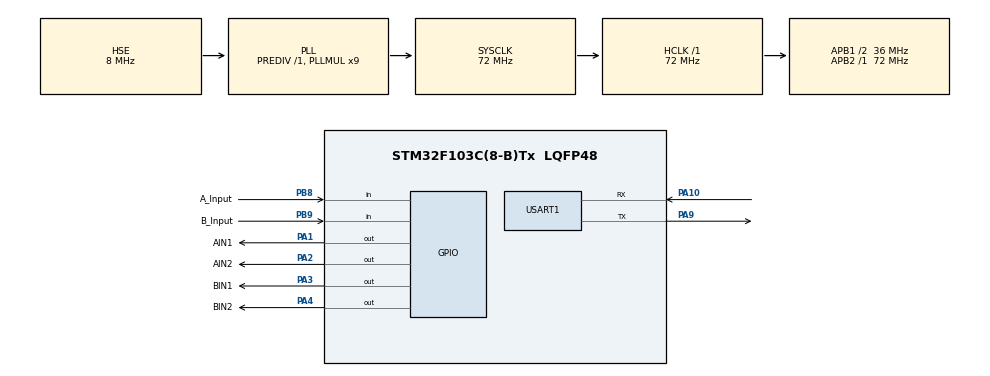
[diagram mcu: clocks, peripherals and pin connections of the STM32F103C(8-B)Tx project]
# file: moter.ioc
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Mcu.Family=STM32F1
Mcu.Name=STM32F103C(8-B)Tx
Mcu.Package=LQFP48
NVIC.PriorityGroup=NVIC_PRIORITYGROUP_4
NVIC.TIM1_UP_IRQn=true\:0\:0\:false\:false\:true\:true\:true
PA1.GPIO_Label=AIN1
PA1.PinState=GPIO_PIN_SET
PA1.Signal=GPIO_Output
PA10.Mode=Asynchronous
PA10.Signal=USART1_RX
PA13.Mode=Serial_Wire
PA13.Signal=SYS_JTMS-SWDIO
PA14.Mode=Serial_Wire
PA14.Signal=SYS_JTCK-SWCLK
PA2.GPIO_Label=AIN2
PA2.Signal=GPIO_Output
PA3.GPIO_Label=BIN1
PA3.Signal=GPIO_Output
PA4.GPIO_Label=BIN2
PA4.Signal=GPIO_Output
PA9.Mode=Asynchronous
PA9.Signal=USART1_TX
PB8.GPIO_Label=A_Input
PB8.Signal=GPIO_Input
PB9.GPIO_Label=B_Input
PB9.Signal=GPIO_Input
PD0-OSC_IN.Mode=HSE-External-Oscillator
PD0-OSC_IN.Signal=RCC_OSC_IN
PD1-OSC_OUT.Mode=HSE-External-Oscillator
PD1-OSC_OUT.Signal=RCC_OSC_OUT
ProjectManager.HeapSize=0x200
ProjectManager.StackSize=0x400
ProjectManager.TargetToolchain=MDK-ARM V5
RCC.AHBFreq_Value=72000000
RCC.APB1CLKDivider=RCC_HCLK_DIV2
RCC.APB1Freq_Value=36000000
RCC.APB1TimFreq_Value=72000000
RCC.APB2Freq_Value=72000000
RCC.APB2TimFreq_Value=72000000
RCC.HCLKFreq_Value=72000000
RCC.PLLMUL=RCC_PLL_MUL9
RCC.PLLSourceVirtual=RCC_PLLSOURCE_HSE
RCC.SYSCLKFreq_VALUE=72000000
RCC.SYSCLKSource=RCC_SYSCLKSOURCE_PLLCLK
RCC.USBFreq_Value=72000000
TIM1.Period=10000-1
TIM1.Prescaler=72-1
TIM1.RepetitionCounter=100-1
USART1.VirtualMode=VM_ASYNC
VP_TIM1_VS_ClockSourceINT.Mode=Internal
board=custom

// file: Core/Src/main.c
/* USER CODE BEGIN Header */
/**
  ******************************************************************************
  * @file           : main.c
  * @brief          : Main program body
  ******************************************************************************
  * @attention
  *
  * Copyright (c) 2022 STMicroelectronics.
  * All rights reserved.
  *
  * This software is licensed under terms that can be found in the LICENSE file
  * in the root directory of this software component.
  * If no LICENSE file comes with this software, it is provided AS-IS.
  *
  ******************************************************************************
  */
/* USER CODE END Header */
#include "main.h"
#include "tim.h"
#include "usart.h"
#include "gpio.h"
#include "PID.h"
/* USER CODE BEGIN Includes */
#include <stdio.h>
/* USER CODE END Includes */

/* USER CODE BEGIN PTD */
typedef struct MOTOR_FLAG
{
	int AIN;
	//int BIN;
}MOTOR_FLAG;
MOTOR_FLAG motor_flag;
/* USER CODE END PTD */

/* USER CODE BEGIN PV */
int time_unit  =0,j=0;
int count=0;
float AclValue;
int uk=500;
int a,b,a_tmp,b_tmp;
/* USER CODE END PV */

void SystemClock_Config(void);

/* USER CODE BEGIN 0 */
int fputc(int ch,FILE* f)
{
	uint8_t temp[1]={ch};
	HAL_UART_Transmit(&huart1,temp,1,2);
	return ch;
}
/* USER CODE END 0 */

int main(void)
{

  /* MCU Configuration--------------------------------------------------------*/

  /* Reset of all peripherals, Initializes the Flash interface and the Systick. */
  HAL_Init();

  /* Configure the system clock */
  SystemClock_Config();

  /* Initialize all configured peripherals */
  MX_GPIO_Init();
  MX_TIM1_Init();
  MX_USART1_UART_Init();
  /* USER CODE BEGIN 2 */
	HAL_TIM_Base_Start_IT(&htim1);
  /* USER CODE END 2 */

  /* Infinite loop */
  while (1)
  {

    /* USER CODE BEGIN 3 */

		a=HAL_GPIO_ReadPin(A_Input_GPIO_Port,A_Input_Pin);
		b=HAL_GPIO_ReadPin(B_Input_GPIO_Port,B_Input_Pin);

		if((!a_tmp) && a)
		{
			count++;
		}
		a_tmp=a;

  }
  /* USER CODE END 3 */
}

void SystemClock_Config(void)
{
  RCC_OscInitTypeDef RCC_OscInitStruct = {0};
  RCC_ClkInitTypeDef RCC_ClkInitStruct = {0};

  /** Initializes the RCC Oscillators according to the specified parameters
  * in the RCC_OscInitTypeDef structure.
  */
  RCC_OscInitStruct.OscillatorType = RCC_OSCILLATORTYPE_HSE;
  RCC_OscInitStruct.HSEState = RCC_HSE_ON;
  RCC_OscInitStruct.HSEPredivValue = RCC_HSE_PREDIV_DIV1;
  RCC_OscInitStruct.HSIState = RCC_HSI_ON;
  RCC_OscInitStruct.PLL.PLLState = RCC_PLL_ON;
  RCC_OscInitStruct.PLL.PLLSource = RCC_PLLSOURCE_HSE;
  RCC_OscInitStruct.PLL.PLLMUL = RCC_PLL_MUL9;
  if (HAL_RCC_OscConfig(&RCC_OscInitStruct) != HAL_OK)
  {
    Error_Handler();
  }
  /** Initializes the CPU, AHB and APB buses clocks
  */
  RCC_ClkInitStruct.ClockType = RCC_CLOCKTYPE_HCLK|RCC_CLOCKTYPE_SYSCLK
                              |RCC_CLOCKTYPE_PCLK1|RCC_CLOCKTYPE_PCLK2;
  RCC_ClkInitStruct.SYSCLKSource = RCC_SYSCLKSOURCE_PLLCLK;
  RCC_ClkInitStruct.AHBCLKDivider = RCC_SYSCLK_DIV1;
  RCC_ClkInitStruct.APB1CLKDivider = RCC_HCLK_DIV2;
  RCC_ClkInitStruct.APB2CLKDivider = RCC_HCLK_DIV1;

  if (HAL_RCC_ClockConfig(&RCC_ClkInitStruct, FLASH_LATENCY_2) != HAL_OK)
  {
    Error_Handler();
  }
}

/* USER CODE BEGIN 4 */

void HAL_TIM_PeriodElapsedCallback(TIM_HandleTypeDef *htim)
{
	if(htim->Instance == htim1.Instance)
	{
		time_unit++;
		j++;
		if(j<= uk)
		{
			HAL_GPIO_WritePin(AIN1_GPIO_Port,AIN1_Pin,GPIO_PIN_SET);
			HAL_GPIO_WritePin(AIN2_GPIO_Port,AIN2_Pin,GPIO_PIN_RESET);
		}else
		{
			HAL_GPIO_WritePin(AIN1_GPIO_Port,AIN1_Pin,GPIO_PIN_RESET);
			HAL_GPIO_WritePin(AIN2_GPIO_Port,AIN2_Pin,GPIO_PIN_RESET);
		}

		j = (j>=2000)?0:j;
//
//		if(time_unit>=100)
//		{
//			PID_simple();
//			uk += (int)OutValue;
//			uk = (uk>2000)?2000:uk;
//			uk = (uk<0)?0:uk;
//			count = 0;
//			time_unit=0;
//			//printf("AclValue: %.2f || OutValue:%.2f \r\n",AclValue,OutValue);
//		}

		if(time_unit>=1000)
		{
			AclValue = (count/13.0)*100;

			PID_simple();
			uk += (int)OutValue;
			uk = (uk>2000)?2000:uk;
			uk = (uk<0)?0:uk;
			printf("AclValue: %.2f || OutValue:%.2f \r\n",AclValue,OutValue);
			time_unit=0;
			count = 0;
		}

//		if(time_unit>=100000)
//		{
//			time_unit=0;
//			printf("uk: %d  || count : %d  \r\n",uk,count);

//		}

//		if(motor_flag.AIN)
//		{
//			printf("up\r\n");
//			HAL_GPIO_WritePin(AIN1_GPIO_Port,AIN1_Pin,GPIO_PIN_RESET);
////			HAL_GPIO_WritePin(AIN2_GPIO_Port,AIN2_Pin,GPIO_PIN_SET);
//		}else{
//		printf("dowm\r\n");
////			HAL_GPIO_WritePin(AIN1_GPIO_Port,AIN1_Pin,GPIO_PIN_SET);
////			HAL_GPIO_WritePin(AIN2_GPIO_Port,AIN2_Pin,GPIO_PIN_RESET);
//		}

	}
}
/* USER CODE END 4 */

void Error_Handler(void)
{
  __disable_irq();
  while (1)
  {
  }
}
